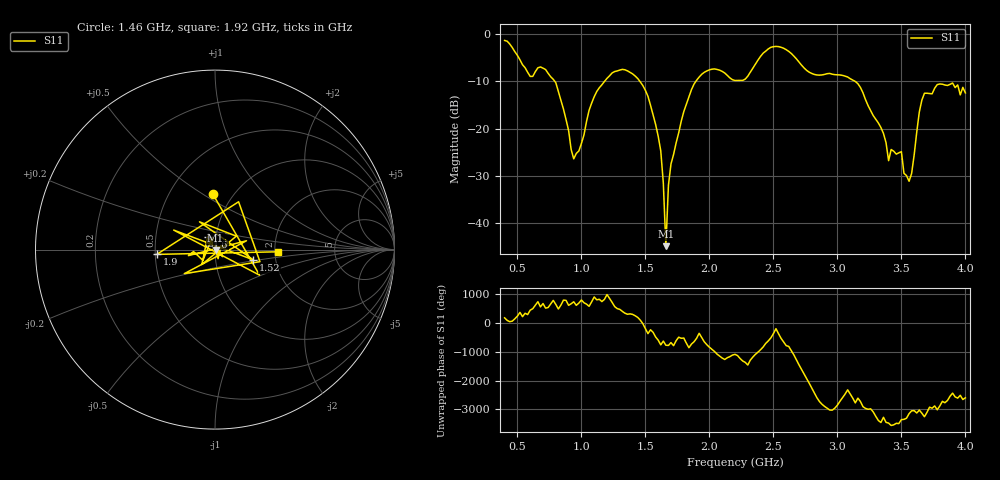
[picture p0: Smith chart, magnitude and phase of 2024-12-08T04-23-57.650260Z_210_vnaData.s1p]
!Created with skrf (http://scikit-rf.org).
# Hz S RI R 50.0
!freq ReS11 ImS11
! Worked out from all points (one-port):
!   181 points, 400 MHz to 4 GHz, reference 50 ohm
!   lowest |S11| = -44.8 dB at 1.66 GHz (marker M1), VSWR 1.01, Z = 50.3 - j0.483 ohm
!   |S11| at or under -10 dB: 792.9 MHz to 1.18 GHz (387.1 MHz wide, 39.2 % of centre); 1.457 GHz to 1.894 GHz (436.3 MHz wide, 26 % of centre); 3.14 GHz to end of sweep
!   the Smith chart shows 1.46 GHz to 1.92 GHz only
!   S11 on the Smith chart (normalised r, x): 1.46 GHz: 0.80, +0.56; 1.52 GHz: 1.53, -0.18; 1.6 GHz: 0.91, +0.13; 1.9 GHz: 0.51, -0.03; 1.92 GHz: 2.08, -0.06
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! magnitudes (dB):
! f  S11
! 400 MHz  -1.3
! 600 MHz  -8.9
! 720 MHz  -7.5
! 860 MHz  -15.9
! 940 MHz  -26.4
! 1.12 GHz  -12.1
! 1.3 GHz  -7.6
! 1.46 GHz  -10.1
! 1.52 GHz  -13.1
! 1.6 GHz  -21.6
! 1.64 GHz  -31.5
! 1.66 GHz  -44.8
! 1.68 GHz  -31.9
! 1.76 GHz  -20.9
! 1.9 GHz  -9.7
! 1.92 GHz  -9.1
! 2.2 GHz  -9.8
! 2.48 GHz  -2.8
! 2.66 GHz  -4.6
! 3.1 GHz  -9.4
! 3.34 GHz  -19.7
! 3.4 GHz  -26.7
! 3.5 GHz  -24.8
! 3.52 GHz  -29.4
! 3.56 GHz  -31.1
! 3.64 GHz  -16.4
! 3.68 GHz  -12.5
! 4 GHz  -12.4
